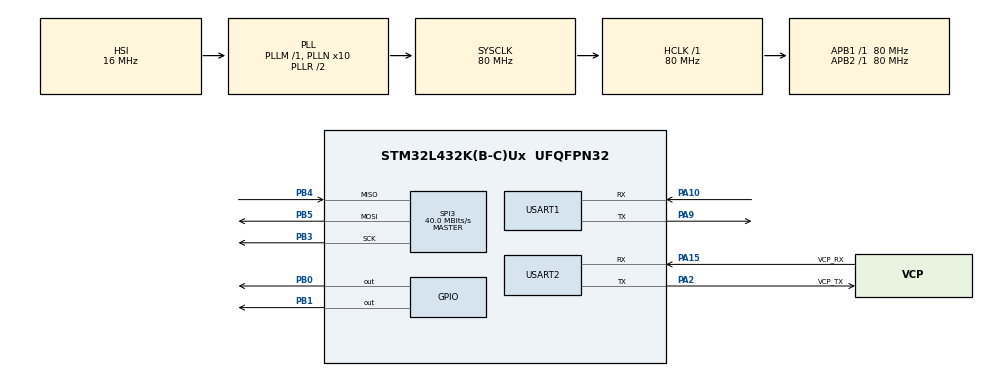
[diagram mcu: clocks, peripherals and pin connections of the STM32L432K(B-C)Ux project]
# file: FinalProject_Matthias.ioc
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FREERTOS.Tasks01=defaultTask,24,750,StartDefaultTask,Default,NULL,Dynamic,NULL,NULL;wifiFetchTask,24,750,wifi_fetch,Default,NULL,Dynamic,NULL,NULL
FREERTOS.configENABLE_FPU=1
FREERTOS.configTOTAL_HEAP_SIZE=10000
FREERTOS.configUSE_NEWLIB_REENTRANT=1
Mcu.Family=STM32L4
Mcu.Name=STM32L432K(B-C)Ux
Mcu.Package=UFQFPN32
NVIC.PriorityGroup=NVIC_PRIORITYGROUP_4
NVIC.TIM6_DAC_IRQn=true\:15\:0\:false\:false\:true\:false\:false\:true
NVIC.TimeBase=TIM6_DAC_IRQn
NVIC.TimeBaseIP=TIM6
NVIC.USART1_IRQn=true\:5\:0\:false\:false\:true\:true\:true\:true
NVIC.USART2_IRQn=true\:5\:0\:false\:false\:true\:true\:true\:true
PA10.Mode=Asynchronous
PA10.Signal=USART1_RX
PA15\ (JTDI).GPIO_Label=VCP_RX
PA15\ (JTDI).Mode=Asynchronous
PA15\ (JTDI).Signal=USART2_RX
PA2.GPIO_Label=VCP_TX
PA2.Mode=Asynchronous
PA2.Signal=USART2_TX
PA9.Mode=Asynchronous
PA9.Signal=USART1_TX
PB0.Signal=GPIO_Output
PB1.Signal=GPIO_Output
PB3\ (JTDO-TRACESWO).Mode=Full_Duplex_Master
PB3\ (JTDO-TRACESWO).Signal=SPI3_SCK
PB4\ (NJTRST).Mode=Full_Duplex_Master
PB4\ (NJTRST).Signal=SPI3_MISO
PB5.Mode=Full_Duplex_Master
PB5.Signal=SPI3_MOSI
ProjectManager.HeapSize=0x200
ProjectManager.StackSize=0x400
ProjectManager.TargetToolchain=STM32CubeIDE
RCC.ADCFreq_Value=64000000
RCC.AHBFreq_Value=80000000
RCC.APB1Freq_Value=80000000
RCC.APB1TimFreq_Value=80000000
RCC.APB2Freq_Value=80000000
RCC.APB2TimFreq_Value=80000000
RCC.CortexFreq_Value=80000000
RCC.HCLKFreq_Value=80000000
RCC.HSE_VALUE=8000000
RCC.HSI16_VALUE=16000000
RCC.HSI48_VALUE=48000000
RCC.HSI_VALUE=16000000
RCC.LSE_VALUE=32768
RCC.MSI_VALUE=4000000
RCC.PLLMUL=RCC_PLLMUL_4
RCC.PLLN=10
RCC.PLLSourceVirtual=RCC_PLLSOURCE_HSI
RCC.SYSCLKFreq_VALUE=80000000
RCC.SYSCLKSource=RCC_SYSCLKSOURCE_PLLCLK
RCC.USBFreq_Value=64000000
RCC.VCOOutputFreq_Value=160000000
SPI3.BaudRatePrescaler=SPI_BAUDRATEPRESCALER_2
SPI3.CalculateBaudRate=40.0 MBits/s
SPI3.DataSize=SPI_DATASIZE_8BIT
SPI3.Direction=SPI_DIRECTION_2LINES
SPI3.Mode=SPI_MODE_MASTER
SPI3.VirtualType=VM_MASTER
USART1.VirtualMode-Asynchronous=VM_ASYNC
USART2.VirtualMode-Asynchronous=VM_ASYNC
VP_FREERTOS_VS_CMSIS_V2.Mode=CMSIS_V2
VP_SYS_VS_tim6.Mode=TIM6
board=NUCLEO-L432KC

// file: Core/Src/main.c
/* USER CODE BEGIN Header */
/**
  ******************************************************************************
  * @file           : main.c
  * @author         : Matthias Kurz
  * @brief          : Connects via the WiFi click board to a server (via TCP/IP)
  *                   to fetch vital data (heart reate and temperature) and
  *                   display them on the attached 8x8 click board. The data
  *                   are fetched with the HTTP protocol using a GET request.
  *                   After the http GET response was fetched, it will be parsed
  *                   (format should be in CSV format, data seperated by
  *                   semicolon) and the data displayed on on the 8x8 click board.
  *                   Each digit is display on its own, switching between the
  *                   heart rate and the temperature. Depending on the vital
  *                   values, the 8x8 screen might turn brighter or darker.
  ******************************************************************************
  * @attention
  *
  * Copyright (c) 2022 STMicroelectronics.
  * All rights reserved.
  *
  * This software is licensed under terms that can be found in the LICENSE file
  * in the root directory of this software component.
  * If no LICENSE file comes with this software, it is provided AS-IS.
  *
  ******************************************************************************
  */
/* USER CODE END Header */
#include "main.h"
#include "cmsis_os.h"

/* USER CODE BEGIN Includes */
#include "stdio.h"
#include "matrix_funktion.h"
#include "Font.h"
#include "WiFi_Click_lib.h"

/* USER CODE END Includes */

/* USER CODE BEGIN PD */
int temperature = 0; // holds the temperature fetched from the server
int heart_rate = 0;  // holds the heart rate fetched from the server
/* USER CODE END PD */

SPI_HandleTypeDef hspi3;

UART_HandleTypeDef huart1;
UART_HandleTypeDef huart2;

/* Definitions for defaultTask */
osThreadId_t defaultTaskHandle;
const osThreadAttr_t defaultTask_attributes = {
  .name = "defaultTask",
  .stack_size = 750 * 4,
  .priority = (osPriority_t) osPriorityNormal,
};
/* Definitions for wifiFetchTask */
osThreadId_t wifiFetchTaskHandle;
const osThreadAttr_t wifiFetchTask_attributes = {
  .name = "wifiFetchTask",
  .stack_size = 750 * 4,
  .priority = (osPriority_t) osPriorityNormal,
};

void SystemClock_Config(void);
static void MX_GPIO_Init(void);
static void MX_USART2_UART_Init(void);
static void MX_SPI3_Init(void);
static void MX_USART1_UART_Init(void);
void StartDefaultTask(void *argument);
void wifi_fetch(void *argument);

/* USER CODE BEGIN 0 */

/* Print given character on UART 2. Translate '\n' to "\r\n" on the fly. */
int __io_putchar(int ch)
{
  int ret;
  while ((ret=HAL_UART_GetState(&huart2)) != HAL_UART_STATE_READY)
    ;

  if (ch == '\n')
  {
    static uint8_t buf[2] = { '\r', '\n' };
    HAL_UART_Transmit_IT(&huart2, buf, sizeof(buf));
  }
  else
  {
    static char buf;
    buf = ch;
    HAL_UART_Transmit_IT(&huart2, (uint8_t *)&buf, 1);
  }
  return ch;
}

/* USER CODE END 0 */

int main(void)
{

  /* MCU Configuration--------------------------------------------------------*/

  /* Reset of all peripherals, Initializes the Flash interface and the Systick. */
  HAL_Init();

  /* Configure the system clock */
  SystemClock_Config();

  /* Initialize all configured peripherals */
  MX_GPIO_Init();
  MX_USART2_UART_Init();
  MX_SPI3_Init();
  MX_USART1_UART_Init();
  /* USER CODE BEGIN 2 */

  // Here we initialize the 8x8 click board
  init_8x8leds();
  // Let's print a smiley as placeholder until we receive data from the server we can display
  for(int y = 1; y < 9; y++)
  {
    write_register(y, special_chars[0][y-1]);
  }

  // Now let's connect to the WiFi (but do not send data yet)
	wifi_click_init();

  /* USER CODE END 2 */

  /* Init scheduler */
  osKernelInitialize();

  /* Create the thread(s) */
  /* creation of defaultTask */
  defaultTaskHandle = osThreadNew(StartDefaultTask, NULL, &defaultTask_attributes);

  /* creation of wifiFetchTask */
  wifiFetchTaskHandle = osThreadNew(wifi_fetch, NULL, &wifiFetchTask_attributes);

  /* Start scheduler */
  osKernelStart();

  /* We should never get here as control is now taken by the scheduler */
  /* Infinite loop */
  while (1)
  {

  }
}

void SystemClock_Config(void)
{
  RCC_OscInitTypeDef RCC_OscInitStruct = {0};
  RCC_ClkInitTypeDef RCC_ClkInitStruct = {0};

  /** Configure the main internal regulator output voltage
  */
  if (HAL_PWREx_ControlVoltageScaling(PWR_REGULATOR_VOLTAGE_SCALE1) != HAL_OK)
  {
    Error_Handler();
  }
  /** Initializes the RCC Oscillators according to the specified parameters
  * in the RCC_OscInitTypeDef structure.
  */
  RCC_OscInitStruct.OscillatorType = RCC_OSCILLATORTYPE_HSI;
  RCC_OscInitStruct.HSIState = RCC_HSI_ON;
  RCC_OscInitStruct.HSICalibrationValue = RCC_HSICALIBRATION_DEFAULT;
  RCC_OscInitStruct.PLL.PLLState = RCC_PLL_ON;
  RCC_OscInitStruct.PLL.PLLSource = RCC_PLLSOURCE_HSI;
  RCC_OscInitStruct.PLL.PLLM = 1;
  RCC_OscInitStruct.PLL.PLLN = 10;
  RCC_OscInitStruct.PLL.PLLP = RCC_PLLP_DIV7;
  RCC_OscInitStruct.PLL.PLLQ = RCC_PLLQ_DIV2;
  RCC_OscInitStruct.PLL.PLLR = RCC_PLLR_DIV2;
  if (HAL_RCC_OscConfig(&RCC_OscInitStruct) != HAL_OK)
  {
    Error_Handler();
  }
  /** Initializes the CPU, AHB and APB buses clocks
  */
  RCC_ClkInitStruct.ClockType = RCC_CLOCKTYPE_HCLK|RCC_CLOCKTYPE_SYSCLK
                              |RCC_CLOCKTYPE_PCLK1|RCC_CLOCKTYPE_PCLK2;
  RCC_ClkInitStruct.SYSCLKSource = RCC_SYSCLKSOURCE_PLLCLK;
  RCC_ClkInitStruct.AHBCLKDivider = RCC_SYSCLK_DIV1;
  RCC_ClkInitStruct.APB1CLKDivider = RCC_HCLK_DIV1;
  RCC_ClkInitStruct.APB2CLKDivider = RCC_HCLK_DIV1;

  if (HAL_RCC_ClockConfig(&RCC_ClkInitStruct, FLASH_LATENCY_4) != HAL_OK)
  {
    Error_Handler();
  }
}

static void MX_SPI3_Init(void)
{

  /* SPI3 parameter configuration*/
  hspi3.Instance = SPI3;
  hspi3.Init.Mode = SPI_MODE_MASTER;
  hspi3.Init.Direction = SPI_DIRECTION_2LINES;
  hspi3.Init.DataSize = SPI_DATASIZE_8BIT;
  hspi3.Init.CLKPolarity = SPI_POLARITY_LOW;
  hspi3.Init.CLKPhase = SPI_PHASE_1EDGE;
  hspi3.Init.NSS = SPI_NSS_SOFT;
  hspi3.Init.BaudRatePrescaler = SPI_BAUDRATEPRESCALER_2;
  hspi3.Init.FirstBit = SPI_FIRSTBIT_MSB;
  hspi3.Init.TIMode = SPI_TIMODE_DISABLE;
  hspi3.Init.CRCCalculation = SPI_CRCCALCULATION_DISABLE;
  hspi3.Init.CRCPolynomial = 7;
  hspi3.Init.CRCLength = SPI_CRC_LENGTH_DATASIZE;
  hspi3.Init.NSSPMode = SPI_NSS_PULSE_ENABLE;
  if (HAL_SPI_Init(&hspi3) != HAL_OK)
  {
    Error_Handler();
  }

}

static void MX_USART1_UART_Init(void)
{

  huart1.Instance = USART1;
  huart1.Init.BaudRate = 115200;
  huart1.Init.WordLength = UART_WORDLENGTH_8B;
  huart1.Init.StopBits = UART_STOPBITS_1;
  huart1.Init.Parity = UART_PARITY_NONE;
  huart1.Init.Mode = UART_MODE_TX_RX;
  huart1.Init.HwFlowCtl = UART_HWCONTROL_NONE;
  huart1.Init.OverSampling = UART_OVERSAMPLING_16;
  huart1.Init.OneBitSampling = UART_ONE_BIT_SAMPLE_DISABLE;
  huart1.AdvancedInit.AdvFeatureInit = UART_ADVFEATURE_NO_INIT;
  if (HAL_UART_Init(&huart1) != HAL_OK)
  {
    Error_Handler();
  }

}

static void MX_USART2_UART_Init(void)
{

  huart2.Instance = USART2;
  huart2.Init.BaudRate = 115200;
  huart2.Init.WordLength = UART_WORDLENGTH_8B;
  huart2.Init.StopBits = UART_STOPBITS_1;
  huart2.Init.Parity = UART_PARITY_NONE;
  huart2.Init.Mode = UART_MODE_TX_RX;
  huart2.Init.HwFlowCtl = UART_HWCONTROL_NONE;
  huart2.Init.OverSampling = UART_OVERSAMPLING_16;
  huart2.Init.OneBitSampling = UART_ONE_BIT_SAMPLE_DISABLE;
  huart2.AdvancedInit.AdvFeatureInit = UART_ADVFEATURE_NO_INIT;
  if (HAL_UART_Init(&huart2) != HAL_OK)
  {
    Error_Handler();
  }

}

static void MX_GPIO_Init(void)
{
  GPIO_InitTypeDef GPIO_InitStruct = {0};

  /* GPIO Ports Clock Enable */
  __HAL_RCC_GPIOA_CLK_ENABLE();
  __HAL_RCC_GPIOB_CLK_ENABLE();

  /*Configure GPIO pin Output Level */
  HAL_GPIO_WritePin(GPIOB, GPIO_PIN_0|GPIO_PIN_1, GPIO_PIN_RESET);

  /*Configure GPIO pins : PB0 PB1 */
  GPIO_InitStruct.Pin = GPIO_PIN_0|GPIO_PIN_1;
  GPIO_InitStruct.Mode = GPIO_MODE_OUTPUT_PP;
  GPIO_InitStruct.Pull = GPIO_NOPULL;
  GPIO_InitStruct.Speed = GPIO_SPEED_FREQ_LOW;
  HAL_GPIO_Init(GPIOB, &GPIO_InitStruct);

}

/* USER CODE BEGIN Header_StartDefaultTask */
/**
  * @brief  Task which updates the 8x8 click board with the current vital data.
  * @note   If vital data are available from the server this tasks starts to display
  * them on the 8x8 click board. It also adjusts the brightness of the LEDs depending on
  * "good", "bad" or "average" vital values.
  * @param  argument: Not used
  * @retval None
  */
/* USER CODE END Header_StartDefaultTask */
void StartDefaultTask(void *argument)
{
  /* USER CODE BEGIN 5 */
  /* Infinite loop */
  for(;;)
  {
    if(heart_rate == 0) {
      // We wait for a value to be fetched from the server...
      // Her we do not change the "screen" yet.
      osDelay(10);
      continue; // go back to the for loop
    }

    // So from here on we do have vital data to display

    // Adjust brightness depending on heart_rate
    if(heart_rate < 50) {
      brightness_control(2);
    } else if(heart_rate > 100) {
      brightness_control(15);
    } else {
      brightness_control(7);
    }

    // ok, now that we have a value from the server, first let's print a heart
    for(int y = 1; y < 9; y++)
    {
      write_register(y, special_chars[1][y-1]);
    }
    osDelay(500); // keep the heart for 500ms

    // Logic to reverse an integer, so heart reate of 125 becomes 521
    // This is needed so we can correctly display the heart rate digit by digit on the 8x8 click
    int n = heart_rate, reverse = 0, remainder, last_digit_zero = false;;
    while (n != 0) {
      remainder = n % 10;
      if(remainder==0) {
        last_digit_zero = true;
      }
      reverse = reverse * 10 + remainder;
      n /= 10;
    }

    // Now we have the reverse for heart_rate, so we can printf digit by digit
    int value = reverse;
    while(value > 0) {
      int digit = value % 10;
      for(int y = 1; y < 9; y++)
      {
        write_register(y, digits[digit][y-1]);
      }
      osDelay(500); // Keep the digit for half a second
      value /= 10;
    }
    if(last_digit_zero) {
      // If the last digit was zero we also have to display it (workaround because above we have modulo 10)
      for(int y = 1; y < 9; y++)
      {
        write_register(y, digits[0][y-1]);
      }
    }
    osDelay(500); // Again keep 0 for half a second on the screen

    // Adjust brightness depending on temperature
    if(temperature < 30) {
      brightness_control(2);
    } else if(temperature > 40) {
      brightness_control(15);
    } else {
      brightness_control(7);
    }

    // Print smiley to indicate temperature is coming now
    for(int y = 1; y < 9; y++)
    {
      write_register(y, special_chars[0][y-1]);
    }
    osDelay(500);

    // Reverse, same like above
    n = temperature;
    reverse = 0;
    last_digit_zero=false;
    while (n != 0) {
      remainder = n % 10;
      if(remainder==0) {
        last_digit_zero = true;
      }
      reverse = reverse * 10 + remainder;
      n /= 10;
    }
    // Now we have the reverse for temp, so we can printf digit by digit again
    value = reverse;
    while(value > 0) {
      int digit = value % 10;
      for(int y = 1; y < 9; y++)
      {
        write_register(y, digits[digit][y-1]);
      }
      osDelay(500);
      value /= 10;
    }
    if(last_digit_zero) {
      for(int y = 1; y < 9; y++)
      {
        write_register(y, digits[0][y-1]);
      }
    }
    osDelay(500);

  }
  /* USER CODE END 5 */
}

/* USER CODE BEGIN Header_wifi_fetch */
/**
* @brief Task that (periodically) fetches the vital data from a server
* @param argument: Not used
* @retval None
*/
/* USER CODE END Header_wifi_fetch */
void wifi_fetch(void *argument)
{
  /* USER CODE BEGIN wifi_fetch */
  /* Infinite loop */
  for(;;)
  {
    // Runs the HTTP GET request and saves the HTTP response
    char *res = wifi_click_fetch_data();

    // Logic to split the response into lines and get the body (the line that starts with a semicolon)
    char *token;
    for(int j = 1; ; j++ ) {
      token = strsep(&res, "\r\n");
      if(token == NULL) {
        break;
      }
      if(strncmp(";", token, 1) == 0) {
        // So we found the body (after skipping all the headers), now let's split
        // the body, using semicolons as seperator (=csv format)
        char *sub_token;
        for(int i = 1; ; i++ ) {
          sub_token = strsep(&token, ";");
          if(sub_token == NULL) {
            break;
          }
          switch(i) {
            case 3: temperature = atoi(sub_token); // we found the "field with the temperature
                break;
            case 4: heart_rate = atoi(sub_token); // we found the "field with the heart rate
                break;
            default:
              break;
          }
        }
      }
    }

    osDelay(10);
  }
  /* USER CODE END wifi_fetch */
}

void HAL_TIM_PeriodElapsedCallback(TIM_HandleTypeDef *htim)
{
  if (htim->Instance == TIM6) {
    HAL_IncTick();
  }
}

void Error_Handler(void)
{
  __disable_irq();
  while (1)
  {
  }
}
